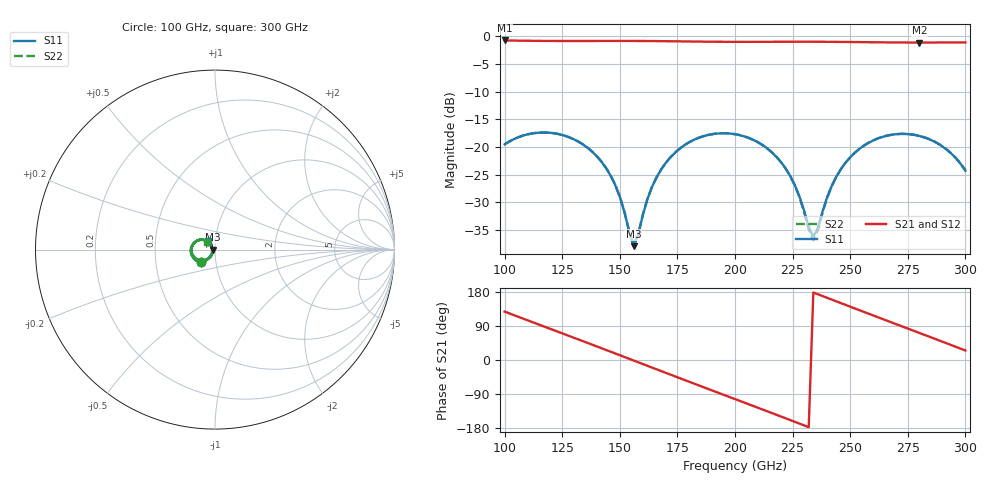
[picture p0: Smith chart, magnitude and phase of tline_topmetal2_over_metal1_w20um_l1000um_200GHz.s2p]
#  GHZ S DB R 50
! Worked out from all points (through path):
!   101 points, 100 GHz to 300 GHz, reference 50 ohm
!   highest |S21| = -0.73 dB at 100 GHz (marker M1); lowest = -1.1 dB at 280 GHz (marker M2)
!   group delay of S21, straight-line fit = 6.43 ps
!   lowest |S11| = -38.0 dB at 156 GHz (marker M3), VSWR 1.03, Z = 48.8 + j0.00796 ohm
!   |S11| at or under -10 dB: start of sweep to end of sweep
!   |S22| runs from -37.7 to -17.4 dB; largest |S21 - S12| = 1.1e-14
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100  -19.54 -138.3  -0.73 127.7  -0.73 127.7  -19.53 -138.0
116  -17.39 -172.5  -0.81 91.0  -0.81 91.0  -17.38 -172.1
124  -17.73 170.5  -0.83 72.6  -0.83 72.6  -17.72 170.9
134  -19.55 149.8  -0.83 49.7  -0.83 49.7  -19.53 150.4
146  -25.19 129.5  -0.82 21.9  -0.82 21.9  -25.16 130.3
150  -29.02 128.1  -0.82 12.6  -0.82 12.6  -28.97 129.1
156  -37.96 179.6  -0.82 -1.3  -0.82 -1.3  -37.66 -179.9
162  -29.44 -121.7  -0.84 -15.3  -0.84 -15.3  -29.40 -122.0
168  -24.04 -124.7  -0.86 -29.3  -0.86 -29.3  -24.03 -124.7
184  -18.38 -154.3  -0.93 -66.4  -0.93 -66.4  -18.38 -154.0
200  -17.69 172.6  -0.98 -103.1  -0.98 -103.1  -17.69 172.9
210  -19.16 152.5  -0.98 -126.1  -0.98 -126.1  -19.16 152.7
220  -22.76 134.8  -0.97 -149.3  -0.97 -149.3  -22.78 134.8
226  -26.93 129.4  -0.96 -163.2  -0.96 -163.2  -27.00 128.9
234  -36.27 -179.3  -0.96 178.1  -0.96 178.1  -36.87 -178.3
242  -27.04 -126.3  -0.98 159.4  -0.98 159.4  -27.08 -124.1
248  -22.84 -131.6  -1.00 145.4  -1.00 145.4  -22.84 -129.9
258  -19.24 -149.2  -1.05 122.2  -1.05 122.2  -19.23 -147.6
268  -17.80 -169.2  -1.09 99.1  -1.09 99.1  -17.78 -167.6
280  -18.02 166.3  -1.11 71.5  -1.11 71.5  -17.99 168.1
292  -20.52 143.0  -1.09 43.7  -1.09 43.7  -20.47 145.2
300  -24.31 130.7  -1.08 25.1  -1.08 25.1  -24.20 133.7
